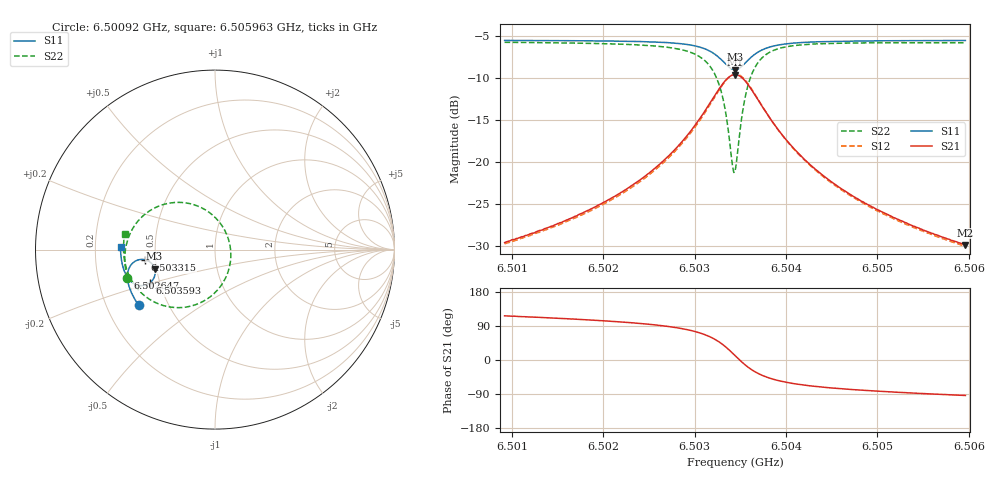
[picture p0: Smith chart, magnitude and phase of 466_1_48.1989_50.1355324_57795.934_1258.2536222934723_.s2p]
#  HZ  S  RI  R  50.00
! Rohde & Schwarz Vector Network Analyzer
! Rohde-Schwarz,ZNB20-2Port,1311601062101988,3.16
! Created: UTC 3/20/2024, 11:56:56 AM
! freq[Hz]  re:S11  im:S11  re:S21  im:S21  re:S12  im:S12  re:S22  im:S22
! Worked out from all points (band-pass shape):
!   401 points, 6.50092 GHz to 6.505963 GHz, reference 50 ohm
!   highest |S21| = -9.62 dB at 6.503441 GHz (marker M1); lowest = -29.8 dB at 6.505963 GHz (marker M2)
!   |S21| within 3 dB of the highest: 6.50319 GHz to 6.503694 GHz (504.1 kHz wide, 0.00775 % of centre)
!   lowest |S11| = -9.0 dB at 6.503441 GHz (marker M3), VSWR 2.09, Z = 24.3 - j5.88 ohm
!   |S11| at or under -10 dB: nowhere
!   |S22| runs from -21.2 to -5.8 dB; largest |S21 - S12| = 0.012
!   S11 on the Smith chart (normalised r, x): 6.50092 GHz: 0.34, -0.29; 6.502647 GHz: 0.33, -0.14; 6.503315 GHz: 0.44, -0.06; 6.503593 GHz: 0.44, -0.20; 6.505963 GHz: 0.31, +0.01
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6.50092e9  -0.4256 -0.3099  -0.0149 0.0298  -0.0132 0.0301  -0.4884 -0.158
6.5017646e9  -0.4619 -0.2476  -0.0143 0.0476  -0.0118 0.0471  -0.5023 -0.0686
6.5022311e9  -0.4783 -0.2065  -0.0114 0.067  -0.00825 0.0659  -0.4996 -0.00275
6.5026093e9  -0.4874 -0.1649  -0.00251 0.0963  0.00142 0.094  -0.4805 0.0726
6.5026472e9  -0.4877 -0.1598  -0.00069 0.1005  0.0032 0.098  -0.4765 0.0818
6.5029245e9  -0.4839 -0.1169  0.0258 0.143  0.0299 0.1385  -0.4213 0.1676
6.5031136e9  -0.4624 -0.0789  0.0799 0.1852  0.0827 0.1788  -0.3183 0.2403
6.5032271e9  -0.4298 -0.0581  0.1489 0.2027  0.1501 0.1963  -0.1939 0.2629
6.5033153e9  -0.3894 -0.0565  0.2286 0.1868  0.2292 0.1814  -0.0564 0.2231
6.5033532e9  -0.3699 -0.064  0.265 0.1639  0.2661 0.1589  0.00369 0.1762
6.5034162e9  -0.3432 -0.0909  0.313 0.0998  0.3158 0.0943  0.0765 0.0531
6.5034414e9  -0.3367 -0.1056  0.3234 0.0675  0.3268 0.0611  0.0876 -0.00733
6.5034666e9  -0.3337 -0.1214  0.3271 0.0336  0.3308 0.0261  0.0859 -0.0689
6.5035297e9  -0.3408 -0.1588  0.309 -0.0446  0.3111 -0.0553  0.0302 -0.2052
6.5035927e9  -0.3622 -0.1848  0.2659 -0.0991  0.2647 -0.111  -0.0666 -0.2888
6.5036936e9  -0.4019 -0.2002  0.1908 -0.1356  0.1852 -0.1456  -0.2177 -0.3233
6.5038575e9  -0.4483 -0.1905  0.1088 -0.1325  0.1015 -0.1378  -0.3655 -0.2766
6.504034e9  -0.4758 -0.1692  0.0642 -0.1123  0.0576 -0.1147  -0.4376 -0.2114
6.5042861e9  -0.4964 -0.1392  0.0341 -0.0879  0.0291 -0.0885  -0.4813 -0.1392
6.5046895e9  -0.5126 -0.0974  0.0142 -0.0635  0.0109 -0.063  -0.5045 -0.0601
6.5051308e9  -0.5213 -0.0567  0.0051 -0.048  0.00267 -0.0474  -0.51 0.00147
6.5059629e9  -0.526 0.0138  -0.00201 -0.0322  -0.0034 -0.0315  -0.5023 0.0893
